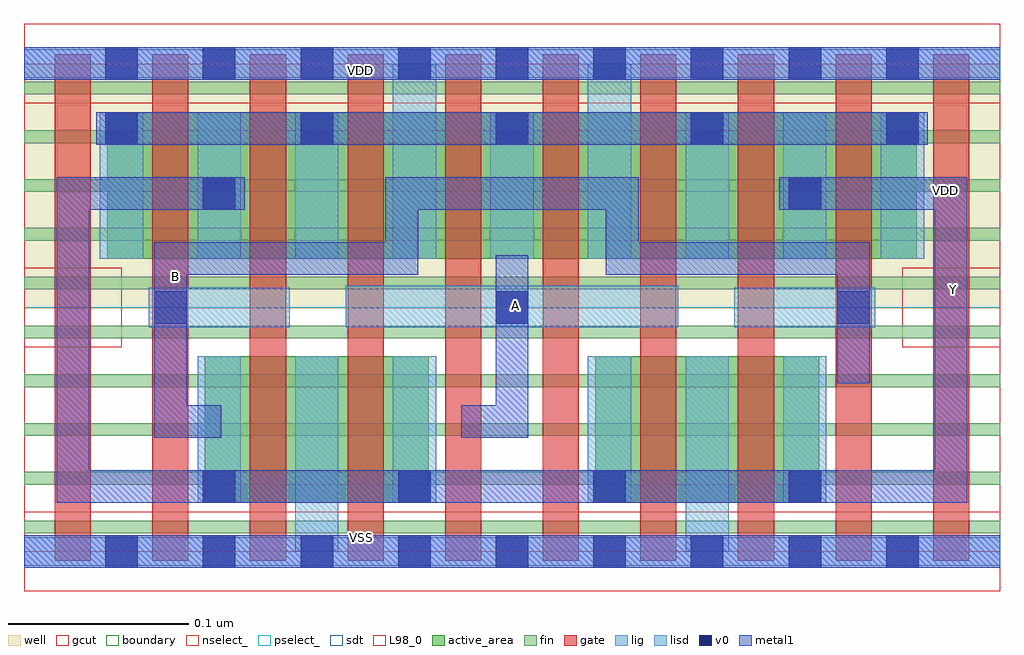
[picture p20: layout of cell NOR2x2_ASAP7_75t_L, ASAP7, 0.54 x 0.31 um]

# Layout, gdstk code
import gdstk
lib = gdstk.Library(unit=1e-6, precision=2.5e-10)
def R(c, l, rs):  # rectangles x0, y0, x1, y1
    for r in rs: c.add(gdstk.rectangle(r[:2], r[2:], *l))
def A(c, l, x, y, w, h, nx, ny, dx, dy):  # array of equal rectangles
    R(c, l, [(x+i*dx, y+j*dy, x+i*dx+w, y+j*dy+h) for i in range(nx) for j in range(ny)])
def P(c, l, *ps):  # polygons
    for p in ps: c.add(gdstk.Polygon(p, *l))
well = (1, 0)
fin = (2, 0)
gate = (7, 0)
gcut = (10, 0)
active_area = (11, 0)
nselect_ = (12, 0)
pselect_ = (13, 0)
lig = (16, 0)
lisd = (17, 0)
v0 = (18, 0)
metal1 = (19, 0)
sdt = (88, 0)
L98_0 = (98, 0)
boundary = (100, 0)

nor2x2_asap7_75t_l = lib.new_cell('NOR2x2_ASAP7_75t_L')
R(nor2x2_asap7_75t_l, well, [(0,0.135,0.54,0.27)])
A(nor2x2_asap7_75t_l, fin, 0, 0.01, 0.54, 0.007, 1, 10, 0, 0.027)
A(nor2x2_asap7_75t_l, gate, 0.017, -0.005, 0.02, 0.28, 10, 1, 0.054, 0)
R(nor2x2_asap7_75t_l, gcut, [(0,-0.022,0.54,0.022), (0,0.113,0.054,0.157), (0.486,0.113,0.54,0.157), (0,0.248,0.54,0.292)])
R(nor2x2_asap7_75t_l, active_area, [(0.1,0.027,0.224,0.108), (0.316,0.027,0.44,0.108), (0.046,0.162,0.494,0.243)])
R(nor2x2_asap7_75t_l, nselect_, [(0,0,0.54,0.135)])
R(nor2x2_asap7_75t_l, pselect_, [(0,0.135,0.54,0.27)])
R(nor2x2_asap7_75t_l, lig, [(0,-0.008,0.54,0.008), (0.069,0.124,0.147,0.146), (0.178,0.124,0.362,0.147), (0.393,0.124,0.471,0.146), (0,0.262,0.54,0.278)])
A(nor2x2_asap7_75t_l, lisd, 0.096, 0.027, 0.024, 0.081, 4, 1, 0.108, 0)
A(nor2x2_asap7_75t_l, lisd, 0.042, 0.162, 0.024, 0.081, 3, 1, 0.054, 0)
A(nor2x2_asap7_75t_l, lisd, 0.366, 0.162, 0.024, 0.081, 3, 1, 0.054, 0)
R(nor2x2_asap7_75t_l, lisd, [(0.15,0,0.174,0.108), (0.366,0,0.39,0.108), (0.204,0.162,0.228,0.27), (0.258,0.162,0.282,0.243), (0.312,0.162,0.336,0.27)])
A(nor2x2_asap7_75t_l, v0, 0.045, -0.009, 0.018, 0.018, 9, 2, 0.054, 0.27)
A(nor2x2_asap7_75t_l, v0, 0.099, 0.027, 0.018, 0.018, 4, 1, 0.108, 0)
A(nor2x2_asap7_75t_l, v0, 0.072, 0.126, 0.018, 0.018, 3, 1, 0.189, 0)
A(nor2x2_asap7_75t_l, v0, 0.045, 0.225, 0.018, 0.018, 5, 1, 0.108, 0)
R(nor2x2_asap7_75t_l, v0, [(0.099,0.189,0.117,0.207), (0.423,0.189,0.441,0.207)])
R(nor2x2_asap7_75t_l, metal1, [(0,-0.009,0.54,0.009), (0.04,0.225,0.5,0.243), (0,0.261,0.54,0.279)])
P(nor2x2_asap7_75t_l, metal1, [(0.279,0.063),(0.242,0.063),(0.242,0.081),(0.261,0.081),(0.261,0.164),(0.279,0.164)],
  [(0.468,0.093),(0.45,0.093),(0.45,0.153),(0.322,0.153),(0.322,0.189),(0.218,0.189),(0.218,0.153),(0.09,0.153),(0.09,0.081),(0.109,0.081),(0.109,0.063),(0.072,0.063),(0.072,0.171),(0.2,0.171),(0.2,0.207),(0.34,0.207),(0.34,0.171),(0.468,0.171)],
  [(0.522,0.027),(0.018,0.027),(0.018,0.207),(0.122,0.207),(0.122,0.189),(0.036,0.189),(0.036,0.045),(0.504,0.045),(0.504,0.189),(0.418,0.189),(0.418,0.207),(0.522,0.207)])
A(nor2x2_asap7_75t_l, sdt, 0.096, 0.027, 0.024, 0.081, 3, 1, 0.054, 0)
A(nor2x2_asap7_75t_l, sdt, 0.312, 0.027, 0.024, 0.081, 3, 1, 0.054, 0)
A(nor2x2_asap7_75t_l, sdt, 0.042, 0.162, 0.024, 0.081, 9, 1, 0.054, 0)
R(nor2x2_asap7_75t_l, L98_0, [(0,0,0.54,0.27)])
R(nor2x2_asap7_75t_l, boundary, [(0,0,0.54,0.27)])
nor2x2_asap7_75t_l.add(gdstk.Label('VSS', (0.435,-0.055), layer=3, texttype=251))
nor2x2_asap7_75t_l.add(gdstk.Label('VDD', (0.51,0.2), layer=1, texttype=251))
nor2x2_asap7_75t_l.add(gdstk.Label('Y', (0.514,0.145), layer=19, texttype=251))
nor2x2_asap7_75t_l.add(gdstk.Label('VSS', (0.187,0.008), layer=19, texttype=251))
nor2x2_asap7_75t_l.add(gdstk.Label('VDD', (0.186,0.266), layer=19, texttype=251))
nor2x2_asap7_75t_l.add(gdstk.Label('A', (0.272,0.136), layer=19, texttype=251))
nor2x2_asap7_75t_l.add(gdstk.Label('B', (0.084,0.152), layer=19, texttype=251))

lib.write_gds('NOR2x2_ASAP7_75t_L.gds')
